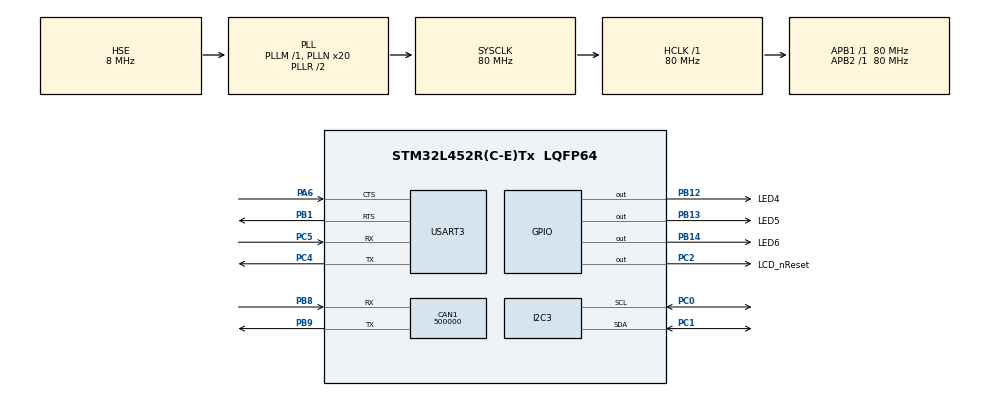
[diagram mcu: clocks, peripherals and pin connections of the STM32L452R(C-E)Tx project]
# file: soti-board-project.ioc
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CAN1.BS1=CAN_BS1_5TQ
CAN1.BS2=CAN_BS2_4TQ
CAN1.CalculateBaudRate=500000
CAN1.CalculateTimeBit=2000
CAN1.CalculateTimeQuantum=200.0
FREERTOS.Queues01=txQueue,16,CANMessage,0,Dynamic,NULL,NULL
FREERTOS.Tasks01=defaultTask,24,128,StartDefaultTask,Default,NULL,Dynamic,NULL,NULL
I2C3.OwnAddress=0
I2C3.Timing=0x10909CEC
Mcu.Family=STM32L4
Mcu.Name=STM32L452R(C-E)Tx
Mcu.Package=LQFP64
NVIC.CAN1_RX0_IRQn=true\:5\:0\:false\:false\:true\:true\:true\:true\:true
NVIC.PriorityGroup=NVIC_PRIORITYGROUP_4
NVIC.USART3_IRQn=true\:5\:0\:false\:false\:true\:true\:true\:true\:true
PA13\ (JTMS/SWDIO).Mode=Trace_Asynchronous_SW
PA13\ (JTMS/SWDIO).Signal=SYS_JTMS-SWDIO
PA14\ (JTCK/SWCLK).Mode=Trace_Asynchronous_SW
PA14\ (JTCK/SWCLK).Signal=SYS_JTCK-SWCLK
PA6.Mode=CTS_RTS
PA6.Signal=USART3_CTS
PB1.Mode=CTS_RTS
PB1.Signal=USART3_RTS
PB12.GPIO_Label=LED4
PB12.Signal=GPIO_Output
PB13.GPIO_Label=LED5
PB13.Signal=GPIO_Output
PB14.GPIO_Label=LED6
PB14.Signal=GPIO_Output
PB3\ (JTDO/TRACESWO).Mode=Trace_Asynchronous_SW
PB3\ (JTDO/TRACESWO).Signal=SYS_JTDO-SWO
PB8.Mode=CAN_Activate
PB8.Signal=CAN1_RX
PB9.Mode=CAN_Activate
PB9.Signal=CAN1_TX
PC0.Mode=I2C
PC0.Signal=I2C3_SCL
PC1.Mode=I2C
PC1.Signal=I2C3_SDA
PC2.GPIO_Label=LCD_nReset
PC2.PinState=GPIO_PIN_SET
PC2.Signal=GPIO_Output
PC4.Mode=Asynchronous
PC4.Signal=USART3_TX
PC5.Mode=Asynchronous
PC5.Signal=USART3_RX
PH0-OSC_IN\ (PH0).Mode=HSE-External-Oscillator
PH0-OSC_IN\ (PH0).Signal=RCC_OSC_IN
PH1-OSC_OUT\ (PH1).Mode=HSE-External-Oscillator
PH1-OSC_OUT\ (PH1).Signal=RCC_OSC_OUT
ProjectManager.HeapSize=0x200
ProjectManager.StackSize=0x400
ProjectManager.TargetToolchain=STM32CubeIDE
RCC.ADCFreq_Value=32000000
RCC.AHBFreq_Value=80000000
RCC.APB1Freq_Value=80000000
RCC.APB1TimFreq_Value=80000000
RCC.APB2Freq_Value=80000000
RCC.APB2TimFreq_Value=80000000
RCC.CortexFreq_Value=80000000
RCC.EnbaleCSS=true
RCC.HCLKFreq_Value=80000000
RCC.HSE_Timout=200
RCC.HSE_VALUE=8000000
RCC.HSI48_VALUE=48000000
RCC.HSI_VALUE=16000000
RCC.LSE_VALUE=32768
RCC.MSI_VALUE=4000000
RCC.PLLN=20
RCC.PLLSourceVirtual=RCC_PLLSOURCE_HSE
RCC.SYSCLKFreq_VALUE=80000000
RCC.SYSCLKSource=RCC_SYSCLKSOURCE_PLLCLK
RCC.USBFreq_Value=32000000
RCC.VCOOutputFreq_Value=160000000
TIM16.Period=5000 - 1
TIM16.Prescaler=80 - 1
USART3.VirtualMode-Asynchronous=VM_ASYNC
VP_FREERTOS_VS_CMSIS_V2.Mode=CMSIS_V2
VP_TIM16_VS_ClockSourceINT.Mode=Enable_Timer
board=custom

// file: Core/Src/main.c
/* USER CODE BEGIN Header */
/**
  ******************************************************************************
  * @file           : main.c
  * @brief          : Main program body
  ******************************************************************************
  * @attention
  *
  * Copyright (c) 2023 STMicroelectronics.
  * All rights reserved.
  *
  * This software is licensed under terms that can be found in the LICENSE file
  * in the root directory of this software component.
  * If no LICENSE file comes with this software, it is provided AS-IS.
  *
  ******************************************************************************
  */
/* USER CODE END Header */
#include "main.h"
#include "cmsis_os.h"

/* USER CODE BEGIN Includes */
#include "tuk/tuk.h"
#include "LEDs_driver.h"
#include "LCD_C0216CiZ_driver.h"
/* USER CODE END Includes */

CAN_HandleTypeDef hcan1;

I2C_HandleTypeDef hi2c3;

TIM_HandleTypeDef htim16;

UART_HandleTypeDef huart3;

/* Definitions for defaultTask */
osThreadId_t defaultTaskHandle;
const osThreadAttr_t defaultTask_attributes = {
  .name = "defaultTask",
  .stack_size = 128 * 4,
  .priority = (osPriority_t) osPriorityNormal,
};
/* Definitions for txQueue */
osMessageQueueId_t txQueueHandle;
const osMessageQueueAttr_t txQueue_attributes = {
  .name = "txQueue"
};
/* USER CODE BEGIN PV */
//CANQueue groundToSatelliteQueue;
uint8_t canRxData[13];
/* USER CODE END PV */

void SystemClock_Config(void);
static void MX_GPIO_Init(void);
static void MX_CAN1_Init(void);
static void MX_USART3_UART_Init(void);
static void MX_I2C3_Init(void);
static void MX_TIM16_Init(void);
void StartDefaultTask(void *argument);

/* USER CODE BEGIN PFP */
//void serializeCANMessage(CANMessage* message, uint8_t* serializedData);
//void deserializeCANMessage(CANMessage* message, const uint8_t* deserializedData);
void Serialize_CAN_Message(uint8_t* out_buffer, const CANMessage* in_msg);
void Deserialize_CAN_Message(CANMessage* out_msg, const uint8_t* in_buffer);

void on_message_received(const CAN_HandleTypeDef*, const CANMessage*);
void on_error_occured(const CANWrapper_ErrorInfo*);
void on_rx_callback(const CAN_HandleTypeDef*, const CANMessage*, uint8_t*);
void on_tx_callback(const CAN_HandleTypeDef*, const CANMessage*);
/* USER CODE END PFP */

int main(void)
{

  /* MCU Configuration--------------------------------------------------------*/

  /* Reset of all peripherals, Initializes the Flash interface and the Systick. */
  HAL_Init();

  /* Configure the system clock */
  SystemClock_Config();

  /* Initialize all configured peripherals */
  MX_GPIO_Init();
  MX_CAN1_Init();
  MX_USART3_UART_Init();
  MX_I2C3_Init();
  MX_TIM16_Init();
  /* USER CODE BEGIN 2 */
  LCD_INIT();
  char *str = "WELCOME TO SOTI!";
  LCD_PRINT_STR(str, 0);
  //groundToSatelliteQueue = CANQueue_Create();
  HAL_UART_Receive_IT(&huart3, canRxData, sizeof(canRxData));
  LEDs_Init();
  /* USER CODE END 2 */

  /* Init scheduler */
  osKernelInitialize();

  /* Create the queue(s) */
  /* creation of txQueue */
  txQueueHandle = osMessageQueueNew (16, sizeof(CANMessage), &txQueue_attributes);

  /* Create the thread(s) */
  /* creation of defaultTask */
  defaultTaskHandle = osThreadNew(StartDefaultTask, NULL, &defaultTask_attributes);

  /* USER CODE BEGIN RTOS_EVENTS */
  /* add events, ... */
  CANWrapper_InitTypeDef canwrapper_init = {
    .message_callback = &on_message_received,
    .error_callback = &on_error_occured,
    .rx_callback = &on_rx_callback,
    .tx_callback = &on_tx_callback
  };
  CANWrapper_CAN_Start(&hcan1);
  CANWrapper_Init(&canwrapper_init);
  /* USER CODE END RTOS_EVENTS */

  /* Start scheduler */
  osKernelStart();

  /* We should never get here as control is now taken by the scheduler */

  /* Infinite loop */
  while (1)
  {

  }
}

void SystemClock_Config(void)
{
  RCC_OscInitTypeDef RCC_OscInitStruct = {0};
  RCC_ClkInitTypeDef RCC_ClkInitStruct = {0};

  /** Configure the main internal regulator output voltage
  */
  if (HAL_PWREx_ControlVoltageScaling(PWR_REGULATOR_VOLTAGE_SCALE1) != HAL_OK)
  {
    Error_Handler();
  }

  /** Initializes the RCC Oscillators according to the specified parameters
  * in the RCC_OscInitTypeDef structure.
  */
  RCC_OscInitStruct.OscillatorType = RCC_OSCILLATORTYPE_HSE;
  RCC_OscInitStruct.HSEState = RCC_HSE_ON;
  RCC_OscInitStruct.PLL.PLLState = RCC_PLL_ON;
  RCC_OscInitStruct.PLL.PLLSource = RCC_PLLSOURCE_HSE;
  RCC_OscInitStruct.PLL.PLLM = 1;
  RCC_OscInitStruct.PLL.PLLN = 20;
  RCC_OscInitStruct.PLL.PLLP = RCC_PLLP_DIV7;
  RCC_OscInitStruct.PLL.PLLQ = RCC_PLLQ_DIV2;
  RCC_OscInitStruct.PLL.PLLR = RCC_PLLR_DIV2;
  if (HAL_RCC_OscConfig(&RCC_OscInitStruct) != HAL_OK)
  {
    Error_Handler();
  }

  /** Initializes the CPU, AHB and APB buses clocks
  */
  RCC_ClkInitStruct.ClockType = RCC_CLOCKTYPE_HCLK|RCC_CLOCKTYPE_SYSCLK
                              |RCC_CLOCKTYPE_PCLK1|RCC_CLOCKTYPE_PCLK2;
  RCC_ClkInitStruct.SYSCLKSource = RCC_SYSCLKSOURCE_PLLCLK;
  RCC_ClkInitStruct.AHBCLKDivider = RCC_SYSCLK_DIV1;
  RCC_ClkInitStruct.APB1CLKDivider = RCC_HCLK_DIV1;
  RCC_ClkInitStruct.APB2CLKDivider = RCC_HCLK_DIV1;

  if (HAL_RCC_ClockConfig(&RCC_ClkInitStruct, FLASH_LATENCY_4) != HAL_OK)
  {
    Error_Handler();
  }

  /** Enables the Clock Security System
  */
  HAL_RCC_EnableCSS();
}

static void MX_CAN1_Init(void)
{

  hcan1.Instance = CAN1;
  hcan1.Init.Prescaler = 16;
  hcan1.Init.Mode = CAN_MODE_NORMAL;
  hcan1.Init.SyncJumpWidth = CAN_SJW_1TQ;
  hcan1.Init.TimeSeg1 = CAN_BS1_5TQ;
  hcan1.Init.TimeSeg2 = CAN_BS2_4TQ;
  hcan1.Init.TimeTriggeredMode = DISABLE;
  hcan1.Init.AutoBusOff = DISABLE;
  hcan1.Init.AutoWakeUp = DISABLE;
  hcan1.Init.AutoRetransmission = DISABLE;
  hcan1.Init.ReceiveFifoLocked = DISABLE;
  hcan1.Init.TransmitFifoPriority = DISABLE;
  if (HAL_CAN_Init(&hcan1) != HAL_OK)
  {
    Error_Handler();
  }

}

static void MX_I2C3_Init(void)
{

  hi2c3.Instance = I2C3;
  hi2c3.Init.Timing = 0x10909CEC;
  hi2c3.Init.OwnAddress1 = 0;
  hi2c3.Init.AddressingMode = I2C_ADDRESSINGMODE_7BIT;
  hi2c3.Init.DualAddressMode = I2C_DUALADDRESS_DISABLE;
  hi2c3.Init.OwnAddress2 = 0;
  hi2c3.Init.OwnAddress2Masks = I2C_OA2_NOMASK;
  hi2c3.Init.GeneralCallMode = I2C_GENERALCALL_DISABLE;
  hi2c3.Init.NoStretchMode = I2C_NOSTRETCH_DISABLE;
  if (HAL_I2C_Init(&hi2c3) != HAL_OK)
  {
    Error_Handler();
  }

  /** Configure Analogue filter
  */
  if (HAL_I2CEx_ConfigAnalogFilter(&hi2c3, I2C_ANALOGFILTER_ENABLE) != HAL_OK)
  {
    Error_Handler();
  }

  /** Configure Digital filter
  */
  if (HAL_I2CEx_ConfigDigitalFilter(&hi2c3, 0) != HAL_OK)
  {
    Error_Handler();
  }

}

static void MX_TIM16_Init(void)
{

  htim16.Instance = TIM16;
  htim16.Init.Prescaler = 80 - 1;
  htim16.Init.CounterMode = TIM_COUNTERMODE_UP;
  htim16.Init.Period = 5000 - 1;
  htim16.Init.ClockDivision = TIM_CLOCKDIVISION_DIV1;
  htim16.Init.RepetitionCounter = 0;
  htim16.Init.AutoReloadPreload = TIM_AUTORELOAD_PRELOAD_DISABLE;
  if (HAL_TIM_Base_Init(&htim16) != HAL_OK)
  {
    Error_Handler();
  }

}

static void MX_USART3_UART_Init(void)
{

  huart3.Instance = USART3;
  huart3.Init.BaudRate = 115200;
  huart3.Init.WordLength = UART_WORDLENGTH_8B;
  huart3.Init.StopBits = UART_STOPBITS_1;
  huart3.Init.Parity = UART_PARITY_NONE;
  huart3.Init.Mode = UART_MODE_TX_RX;
  huart3.Init.HwFlowCtl = UART_HWCONTROL_RTS_CTS;
  huart3.Init.OverSampling = UART_OVERSAMPLING_16;
  huart3.Init.OneBitSampling = UART_ONE_BIT_SAMPLE_DISABLE;
  huart3.AdvancedInit.AdvFeatureInit = UART_ADVFEATURE_NO_INIT;
  if (HAL_UART_Init(&huart3) != HAL_OK)
  {
    Error_Handler();
  }

}

static void MX_GPIO_Init(void)
{
  GPIO_InitTypeDef GPIO_InitStruct = {0};

  /* GPIO Ports Clock Enable */
  __HAL_RCC_GPIOH_CLK_ENABLE();
  __HAL_RCC_GPIOC_CLK_ENABLE();
  __HAL_RCC_GPIOA_CLK_ENABLE();
  __HAL_RCC_GPIOB_CLK_ENABLE();

  /*Configure GPIO pin Output Level */
  HAL_GPIO_WritePin(LCD_nReset_GPIO_Port, LCD_nReset_Pin, GPIO_PIN_SET);

  /*Configure GPIO pin Output Level */
  HAL_GPIO_WritePin(GPIOB, LED4_Pin|LED5_Pin|LED6_Pin, GPIO_PIN_RESET);

  /*Configure GPIO pin : LCD_nReset_Pin */
  GPIO_InitStruct.Pin = LCD_nReset_Pin;
  GPIO_InitStruct.Mode = GPIO_MODE_OUTPUT_PP;
  GPIO_InitStruct.Pull = GPIO_NOPULL;
  GPIO_InitStruct.Speed = GPIO_SPEED_FREQ_LOW;
  HAL_GPIO_Init(LCD_nReset_GPIO_Port, &GPIO_InitStruct);

  /*Configure GPIO pins : LED4_Pin LED5_Pin LED6_Pin */
  GPIO_InitStruct.Pin = LED4_Pin|LED5_Pin|LED6_Pin;
  GPIO_InitStruct.Mode = GPIO_MODE_OUTPUT_PP;
  GPIO_InitStruct.Pull = GPIO_NOPULL;
  GPIO_InitStruct.Speed = GPIO_SPEED_FREQ_LOW;
  HAL_GPIO_Init(GPIOB, &GPIO_InitStruct);

}

/* USER CODE BEGIN 4 */
void on_message_received(const CAN_HandleTypeDef* hcan, const CANMessage* msg)
{
  CANMessage message = *msg;
  uint8_t serializedData[13];

  //serializing the CANMessage to transfer over UART.
  //serializeCANMessage(&message, serializedData);
  Serialize_CAN_Message(serializedData, &message);
  //transferring data over UART.
  HAL_UART_Transmit(&huart3, serializedData, sizeof(serializedData), HAL_MAX_DELAY);
}

void on_error_occured(const CANWrapper_ErrorInfo* error)
{
  char *str1 = "ERROR:";
  char *str2 = "CAN RX";
  LCD_CLEAR_DISPLAY();
  LCD_PRINT_STR(str1, 0);
  LCD_PRINT_STR(str2, 16);
}

void on_rx_callback(const CAN_HandleTypeDef*, const CANMessage*, uint8_t*)
{

}

void on_tx_callback(const CAN_HandleTypeDef*, const CANMessage*)
{

}

void HAL_UART_RxCpltCallback(UART_HandleTypeDef *huart)
{
  // Create a CAN message from serial data
  CANMessage message;
  Deserialize_CAN_Message(&message, canRxData);
  //deserializeCANMessage(&message, canRxData);

  // Add the message to the TX queue
  osMessageQueuePut(txQueueHandle, &message, 0U, 0U);

  // Arm the UART interrupt
  HAL_UART_Receive_IT(&huart3, canRxData, sizeof(canRxData));
}

void Serialize_CAN_Message(uint8_t* out_buffer, const CANMessage* in_msg)
{
	memcpy(out_buffer, in_msg, sizeof(CANMessage));
}
/*
void serializeCANMessage(CANMessage* message, uint8_t* serializedData)
{
  serializedData[0] = message->priority;
  serializedData[1] = message->sender;
  serializedData[2] = message->recipient;
  serializedData[3] = message->is_ack;
  serializedData[4] = message->cmd;

  for (int i = 0; i < CAN_MAX_BODY_SIZE; i++)
  {
    serializedData[5 + i] = message->body[i];
  }
}
*/

/**
 * Deserializes bytes into a CAN message.
 *
 * @param out_msg Message for storing result.
 * @param in_buffer Bytes to deserialize.
 */
void Deserialize_CAN_Message(CANMessage* out_msg, const uint8_t* in_buffer)
{
	memcpy(out_msg, in_buffer, sizeof(CANMessage));

	// Check for inferred fields.
	if (out_msg->body_size == 255)
	{
		out_msg->body_size = CMD_CONFIGS[out_msg->cmd].body_size;
	}
	if (out_msg->priority == 255)
	{
		out_msg->priority = CMD_CONFIGS[out_msg->cmd].priority;
	}
}
/*
void deserializeCANMessage(CANMessage* message, const uint8_t* deserializedData)
{
  message->priority = deserializedData[0];
  message->sender = deserializedData[1];
  message->recipient = deserializedData[2];
  message->is_ack = deserializedData[3];
  message->cmd = deserializedData[4];
  message->body_size = CMD_CONFIGS[message->cmd].body_size;
  for (int i = 0; i < CAN_MAX_BODY_SIZE; i++)
  {
    message->body[i] = deserializedData[5 + i];
  }
}
*/
/* USER CODE END 4 */

void StartDefaultTask(void *argument)
{
  /* USER CODE BEGIN 5 */
  CANMessage msg;
  /* Infinite loop */
  for(;;)
  {
    if (osMessageQueueGet(txQueueHandle, &msg, NULL, osWaitForever) == osOK)
    {
      CANWrapper_Transmit_Raw(&hcan1, &msg, true);
    }
  }
  /* USER CODE END 5 */
}

void Error_Handler(void)
{
  __disable_irq();
  while (1)
  {
  }
}
